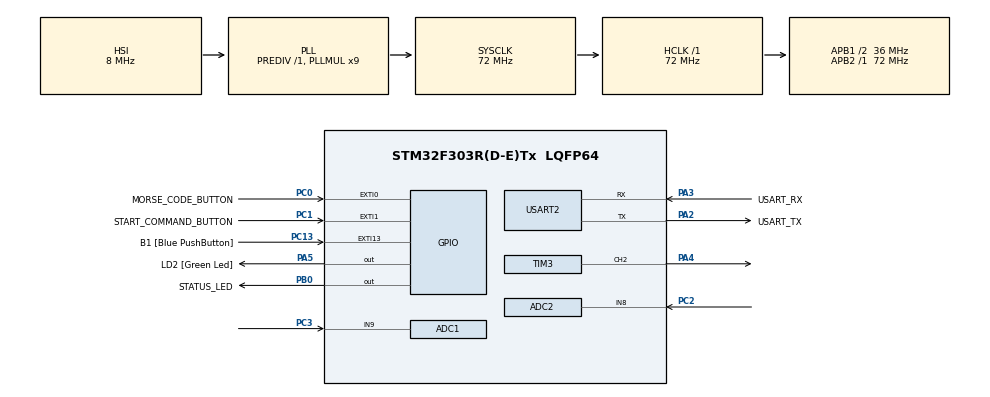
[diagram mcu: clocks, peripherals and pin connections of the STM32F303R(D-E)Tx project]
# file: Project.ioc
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ADC1.Channel-0\#ChannelRegularConversion=ADC_CHANNEL_9
ADC1.NbrOfConversionFlag=1
ADC1.Offset-0\#ChannelRegularConversion=0
ADC1.OffsetNumber-0\#ChannelRegularConversion=ADC_OFFSET_NONE
ADC1.Rank-0\#ChannelRegularConversion=1
ADC1.SamplingTime-0\#ChannelRegularConversion=ADC_SAMPLETIME_1CYCLE_5
ADC1.master=1
ADC2.Channel-1\#ChannelRegularConversion=ADC_CHANNEL_8
ADC2.NbrOfConversionFlag=1
ADC2.Offset-1\#ChannelRegularConversion=0
ADC2.OffsetNumber-1\#ChannelRegularConversion=ADC_OFFSET_NONE
ADC2.Rank-1\#ChannelRegularConversion=1
ADC2.SamplingTime-1\#ChannelRegularConversion=ADC_SAMPLETIME_1CYCLE_5
ADC2.SamplingTimeOPAMP-1\#ChannelRegularConversion=ADC_SAMPLETIME_61CYCLES_5
FREERTOS.Mutexes01=PotOneMutex,Static,PrinterMutexControlBlock,Available;PotTwoMutex,Static,PotTwoMutexControlBlock,Available
FREERTOS.Tasks01=PotOneTask,24,256,StartPotOneTask,Default,NULL,Static,PotOneTaskBuffer,PotOneTaskControlBlock;PotTwoTask,24,256,StartPotTwoTask,Default,NULL,Static,PotTwoTaskBuffer,PotTwoTaskControlBlock;PrinterTask,24,128,StartPrinterTask,Default,NULL,Static,PrinterTaskBuffer,PrinterTaskControlBlock;ButtonTask,8,128,StartButtonTask,Default,NULL,Static,ButtonTaskBuffer,ButtonTaskControlBlock;LEDTask,8,128,StartLEDTask,Default,NULL,Static,LEDTaskBuffer,LEDTaskControlBlock
Mcu.Family=STM32F3
Mcu.Name=STM32F303R(D-E)Tx
Mcu.Package=LQFP64
NVIC.ADC1_2_IRQn=true\:5\:0\:false\:false\:true\:true\:true\:true\:true
NVIC.EXTI0_IRQn=true\:5\:0\:false\:false\:true\:true\:true\:true\:true
NVIC.EXTI1_IRQn=true\:5\:0\:false\:false\:true\:true\:true\:true\:true
NVIC.PriorityGroup=NVIC_PRIORITYGROUP_4
NVIC.TIM6_DAC_IRQn=true\:15\:0\:false\:false\:true\:false\:false\:true\:true
NVIC.TimeBase=TIM6_DAC_IRQn
NVIC.TimeBaseIP=TIM6
PA13.GPIO_Label=TMS
PA13.Mode=Serial_Wire
PA13.Signal=SYS_JTMS-SWDIO
PA14.GPIO_Label=TCK
PA14.Mode=Serial_Wire
PA14.Signal=SYS_JTCK-SWCLK
PA2.GPIO_Label=USART_TX
PA2.GPIO_Mode=GPIO_MODE_AF_PP
PA2.GPIO_PuPd=GPIO_NOPULL
PA2.GPIO_Speed=GPIO_SPEED_FREQ_LOW
PA2.Mode=Asynchronous
PA2.Signal=USART2_TX
PA3.GPIO_Label=USART_RX
PA3.GPIO_Mode=GPIO_MODE_AF_PP
PA3.GPIO_PuPd=GPIO_NOPULL
PA3.GPIO_Speed=GPIO_SPEED_FREQ_LOW
PA3.Mode=Asynchronous
PA3.Signal=USART2_RX
PA4.Signal=S_TIM3_CH2
PA5.GPIO_Label=LD2 [Green Led]
PA5.GPIO_Mode=GPIO_MODE_OUTPUT_PP
PA5.GPIO_PuPd=GPIO_NOPULL
PA5.GPIO_Speed=GPIO_SPEED_FREQ_LOW
PA5.Signal=GPIO_Output
PB0.GPIO_Label=STATUS_LED
PB0.Signal=GPIO_Output
PB3.GPIO_Label=SWO
PB3.Signal=SYS_JTDO-TRACESWO
PC0.GPIO_Label=MORSE_CODE_BUTTON
PC0.GPIO_PuPd=GPIO_PULLUP
PC0.Signal=GPXTI0
PC1.GPIO_Label=START_COMMAND_BUTTON
PC1.GPIO_PuPd=GPIO_PULLUP
PC1.Signal=GPXTI1
PC13.GPIO_Label=B1 [Blue PushButton]
PC13.GPIO_ModeDefaultEXTI=GPIO_MODE_IT_FALLING
PC13.Signal=GPXTI13
PC14-OSC32_IN.Mode=LSE-External-Oscillator
PC14-OSC32_IN.Signal=RCC_OSC32_IN
PC15-OSC32_OUT.Mode=LSE-External-Oscillator
PC15-OSC32_OUT.Signal=RCC_OSC32_OUT
PC2.Signal=ADCx_IN8
PC3.Signal=ADCx_IN9
PF0-OSC_IN.Mode=HSE-External-Clock-Source
PF0-OSC_IN.Signal=RCC_OSC_IN
PF1-OSC_OUT.Signal=RCC_OSC_OUT
ProjectManager.HeapSize=0x200
ProjectManager.StackSize=0x400
ProjectManager.TargetToolchain=STM32CubeIDE
RCC.AHBFreq_Value=72000000
RCC.APB1CLKDivider=RCC_HCLK_DIV2
RCC.APB1Freq_Value=36000000
RCC.APB1TimFreq_Value=72000000
RCC.APB2Freq_Value=72000000
RCC.APB2TimFreq_Value=72000000
RCC.CortexFreq_Value=72000000
RCC.HCLKFreq_Value=72000000
RCC.HSE_VALUE=8000000
RCC.HSI_VALUE=8000000
RCC.PLLM=8
RCC.PLLMUL=RCC_PLL_MUL9
RCC.PLLN=336
RCC.PLLP=RCC_PLLP_DIV4
RCC.PLLQ=7
RCC.RCC_PLLsource_Clock_Source_FROM_HSE=RCC_HSE_PREDIV_DIV2
RCC.SYSCLKFreq_VALUE=72000000
RCC.SYSCLKSourceVirtual=RCC_SYSCLKSOURCE_PLLCLK
RCC.USBFreq_Value=72000000
SH.ADCx_IN8.0=ADC2_IN8,IN8-Single-Ended
SH.ADCx_IN9.0=ADC1_IN9,IN9-Single-Ended
SH.S_TIM3_CH2.0=TIM3_CH2,PWM Generation2 CH2
TIM3.Channel-PWM\ Generation2\ CH2=TIM_CHANNEL_2
TIM3.Period=499
TIM3.Pulse-PWM\ Generation2\ CH2=250
USART2.VirtualMode-Asynchronous=VM_ASYNC
VP_FREERTOS_VS_CMSIS_V2.Mode=CMSIS_V2
VP_SYS_VS_tim6.Mode=TIM6
board=NUCLEO-F303RE

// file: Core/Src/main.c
/* USER CODE BEGIN Header */
/**
  ******************************************************************************
  * @file           : main.c
  * @brief          : Main program body
  ******************************************************************************
  * @attention
  *
  * Copyright (c) 2026 STMicroelectronics.
  * All rights reserved.
  *
  * This software is licensed under terms that can be found in the LICENSE file
  * in the root directory of this software component.
  * If no LICENSE file comes with this software, it is provided AS-IS.
  *
  ******************************************************************************
  */
/* USER CODE END Header */
#include "main.h"
#include "cmsis_os.h"

/* USER CODE BEGIN Includes */
#include "trimpot.h"

#include <string.h>
#include <stdbool.h>
/* USER CODE END Includes */

typedef StaticTask_t osStaticThreadDef_t;
typedef StaticSemaphore_t osStaticMutexDef_t;

/* USER CODE BEGIN PD */

trimpotSensor *Pot1;
trimpotSensor *Pot2;

/* USER CODE END PD */

ADC_HandleTypeDef hadc1;
ADC_HandleTypeDef hadc2;

TIM_HandleTypeDef htim3;

UART_HandleTypeDef huart2;

/* Definitions for PotOneTask */
osThreadId_t PotOneTaskHandle;
uint32_t PotOneTaskBuffer[ 256 ];
osStaticThreadDef_t PotOneTaskControlBlock;
const osThreadAttr_t PotOneTask_attributes = {
  .name = "PotOneTask",
  .cb_mem = &PotOneTaskControlBlock,
  .cb_size = sizeof(PotOneTaskControlBlock),
  .stack_mem = &PotOneTaskBuffer[0],
  .stack_size = sizeof(PotOneTaskBuffer),
  .priority = (osPriority_t) osPriorityNormal,
};
/* Definitions for PotTwoTask */
osThreadId_t PotTwoTaskHandle;
uint32_t PotTwoTaskBuffer[ 256 ];
osStaticThreadDef_t PotTwoTaskControlBlock;
const osThreadAttr_t PotTwoTask_attributes = {
  .name = "PotTwoTask",
  .cb_mem = &PotTwoTaskControlBlock,
  .cb_size = sizeof(PotTwoTaskControlBlock),
  .stack_mem = &PotTwoTaskBuffer[0],
  .stack_size = sizeof(PotTwoTaskBuffer),
  .priority = (osPriority_t) osPriorityNormal,
};
/* Definitions for PrinterTask */
osThreadId_t PrinterTaskHandle;
uint32_t PrinterTaskBuffer[ 512];
osStaticThreadDef_t PrinterTaskControlBlock;
const osThreadAttr_t PrinterTask_attributes = {
  .name = "PrinterTask",
  .cb_mem = &PrinterTaskControlBlock,
  .cb_size = sizeof(PrinterTaskControlBlock),
  .stack_mem = &PrinterTaskBuffer[0],
  .stack_size = sizeof(PrinterTaskBuffer),
  .priority = (osPriority_t) osPriorityNormal,
};
/* Definitions for ButtonTask */
osThreadId_t ButtonTaskHandle;
uint32_t ButtonTaskBuffer[ 128 ];
osStaticThreadDef_t ButtonTaskControlBlock;
const osThreadAttr_t ButtonTask_attributes = {
  .name = "ButtonTask",
  .cb_mem = &ButtonTaskControlBlock,
  .cb_size = sizeof(ButtonTaskControlBlock),
  .stack_mem = &ButtonTaskBuffer[0],
  .stack_size = sizeof(ButtonTaskBuffer),
  .priority = (osPriority_t) osPriorityLow,
};
/* Definitions for LEDTask */
osThreadId_t LEDTaskHandle;
uint32_t LEDTaskBuffer[ 128 ];
osStaticThreadDef_t LEDTaskControlBlock;
const osThreadAttr_t LEDTask_attributes = {
  .name = "LEDTask",
  .cb_mem = &LEDTaskControlBlock,
  .cb_size = sizeof(LEDTaskControlBlock),
  .stack_mem = &LEDTaskBuffer[0],
  .stack_size = sizeof(LEDTaskBuffer),
  .priority = (osPriority_t) osPriorityLow,
};
/* Definitions for PotOneMutex */
osMutexId_t PotOneMutexHandle;
osStaticMutexDef_t PrinterMutexControlBlock;
const osMutexAttr_t PotOneMutex_attributes = {
  .name = "PotOneMutex",
  .cb_mem = &PrinterMutexControlBlock,
  .cb_size = sizeof(PrinterMutexControlBlock),
};
/* Definitions for PotTwoMutex */
osMutexId_t PotTwoMutexHandle;
osStaticMutexDef_t PotTwoMutexControlBlock;
const osMutexAttr_t PotTwoMutex_attributes = {
  .name = "PotTwoMutex",
  .cb_mem = &PotTwoMutexControlBlock,
  .cb_size = sizeof(PotTwoMutexControlBlock),
};

void SystemClock_Config(void);
static void MX_GPIO_Init(void);
static void MX_ADC1_Init(void);
static void MX_USART2_UART_Init(void);
static void MX_ADC2_Init(void);
static void MX_TIM3_Init(void);
void StartPotOneTask(void *argument);
void StartPotTwoTask(void *argument);
void StartPrinterTask(void *argument);
void StartButtonTask(void *argument);
void StartLEDTask(void *argument);

/* USER CODE BEGIN 0 */

/*
 ADCs are ijn interupt mode
 this function will be called when either of
 the ADCs are ready
 */

/* USER CODE END 0 */

int main(void)
{

  /* MCU Configuration--------------------------------------------------------*/

  /* Reset of all peripherals, Initializes the Flash interface and the Systick. */
  HAL_Init();

  /* Configure the system clock */
  SystemClock_Config();

  /* Initialize all configured peripherals */
  MX_GPIO_Init();
  MX_ADC1_Init();
  MX_USART2_UART_Init();
  MX_ADC2_Init();
  MX_TIM3_Init();
  /* USER CODE BEGIN 2 */

  Pot1=initTrimpot(1);
  Pot2=initTrimpot(2);

  /* USER CODE END 2 */

  /* Init scheduler */
  osKernelInitialize();
  /* Create the mutex(es) */
  /* creation of PotOneMutex */
  PotOneMutexHandle = osMutexNew(&PotOneMutex_attributes);

  /* creation of PotTwoMutex */
  PotTwoMutexHandle = osMutexNew(&PotTwoMutex_attributes);

  /* Create the thread(s) */
  /* creation of PotOneTask */
  PotOneTaskHandle = osThreadNew(StartPotOneTask, NULL, &PotOneTask_attributes);

  /* creation of PotTwoTask */
  PotTwoTaskHandle = osThreadNew(StartPotTwoTask, NULL, &PotTwoTask_attributes);

  /* creation of PrinterTask */
  PrinterTaskHandle = osThreadNew(StartPrinterTask, NULL, &PrinterTask_attributes);

  /* creation of ButtonTask */
  ButtonTaskHandle = osThreadNew(StartButtonTask, NULL, &ButtonTask_attributes);

  /* creation of LEDTask */
  LEDTaskHandle = osThreadNew(StartLEDTask, NULL, &LEDTask_attributes);

  /* Start scheduler */
  osKernelStart();

  /* We should never get here as control is now taken by the scheduler */

  /* Infinite loop */
  while (1)
  {

  }
}

void SystemClock_Config(void)
{
  RCC_OscInitTypeDef RCC_OscInitStruct = {0};
  RCC_ClkInitTypeDef RCC_ClkInitStruct = {0};
  RCC_PeriphCLKInitTypeDef PeriphClkInit = {0};

  /** Initializes the RCC Oscillators according to the specified parameters
  * in the RCC_OscInitTypeDef structure.
  */
  RCC_OscInitStruct.OscillatorType = RCC_OSCILLATORTYPE_HSI;
  RCC_OscInitStruct.HSIState = RCC_HSI_ON;
  RCC_OscInitStruct.HSICalibrationValue = RCC_HSICALIBRATION_DEFAULT;
  RCC_OscInitStruct.PLL.PLLState = RCC_PLL_ON;
  RCC_OscInitStruct.PLL.PLLSource = RCC_PLLSOURCE_HSI;
  RCC_OscInitStruct.PLL.PLLMUL = RCC_PLL_MUL9;
  RCC_OscInitStruct.PLL.PREDIV = RCC_PREDIV_DIV1;
  if (HAL_RCC_OscConfig(&RCC_OscInitStruct) != HAL_OK)
  {
    Error_Handler();
  }

  /** Initializes the CPU, AHB and APB buses clocks
  */
  RCC_ClkInitStruct.ClockType = RCC_CLOCKTYPE_HCLK|RCC_CLOCKTYPE_SYSCLK
                              |RCC_CLOCKTYPE_PCLK1|RCC_CLOCKTYPE_PCLK2;
  RCC_ClkInitStruct.SYSCLKSource = RCC_SYSCLKSOURCE_PLLCLK;
  RCC_ClkInitStruct.AHBCLKDivider = RCC_SYSCLK_DIV1;
  RCC_ClkInitStruct.APB1CLKDivider = RCC_HCLK_DIV2;
  RCC_ClkInitStruct.APB2CLKDivider = RCC_HCLK_DIV1;

  if (HAL_RCC_ClockConfig(&RCC_ClkInitStruct, FLASH_LATENCY_2) != HAL_OK)
  {
    Error_Handler();
  }
  PeriphClkInit.PeriphClockSelection = RCC_PERIPHCLK_USART2|RCC_PERIPHCLK_ADC12
                              |RCC_PERIPHCLK_TIM34;
  PeriphClkInit.Usart2ClockSelection = RCC_USART2CLKSOURCE_PCLK1;
  PeriphClkInit.Adc12ClockSelection = RCC_ADC12PLLCLK_DIV1;
  PeriphClkInit.Tim34ClockSelection = RCC_TIM34CLK_HCLK;
  if (HAL_RCCEx_PeriphCLKConfig(&PeriphClkInit) != HAL_OK)
  {
    Error_Handler();
  }
}

static void MX_ADC1_Init(void)
{

  ADC_MultiModeTypeDef multimode = {0};
  ADC_ChannelConfTypeDef sConfig = {0};

  /** Common config
  */
  hadc1.Instance = ADC1;
  hadc1.Init.ClockPrescaler = ADC_CLOCK_ASYNC_DIV1;
  hadc1.Init.Resolution = ADC_RESOLUTION_12B;
  hadc1.Init.ScanConvMode = ADC_SCAN_DISABLE;
  hadc1.Init.ContinuousConvMode = DISABLE;
  hadc1.Init.DiscontinuousConvMode = DISABLE;
  hadc1.Init.ExternalTrigConvEdge = ADC_EXTERNALTRIGCONVEDGE_NONE;
  hadc1.Init.ExternalTrigConv = ADC_SOFTWARE_START;
  hadc1.Init.DataAlign = ADC_DATAALIGN_RIGHT;
  hadc1.Init.NbrOfConversion = 1;
  hadc1.Init.DMAContinuousRequests = DISABLE;
  hadc1.Init.EOCSelection = ADC_EOC_SINGLE_CONV;
  hadc1.Init.LowPowerAutoWait = DISABLE;
  hadc1.Init.Overrun = ADC_OVR_DATA_OVERWRITTEN;
  if (HAL_ADC_Init(&hadc1) != HAL_OK)
  {
    Error_Handler();
  }

  /** Configure the ADC multi-mode
  */
  multimode.Mode = ADC_MODE_INDEPENDENT;
  if (HAL_ADCEx_MultiModeConfigChannel(&hadc1, &multimode) != HAL_OK)
  {
    Error_Handler();
  }

  /** Configure Regular Channel
  */
  sConfig.Channel = ADC_CHANNEL_9;
  sConfig.Rank = ADC_REGULAR_RANK_1;
  sConfig.SingleDiff = ADC_SINGLE_ENDED;
  sConfig.SamplingTime = ADC_SAMPLETIME_1CYCLE_5;
  sConfig.OffsetNumber = ADC_OFFSET_NONE;
  sConfig.Offset = 0;
  if (HAL_ADC_ConfigChannel(&hadc1, &sConfig) != HAL_OK)
  {
    Error_Handler();
  }

}

static void MX_ADC2_Init(void)
{

  ADC_ChannelConfTypeDef sConfig = {0};

  /** Common config
  */
  hadc2.Instance = ADC2;
  hadc2.Init.ClockPrescaler = ADC_CLOCK_ASYNC_DIV1;
  hadc2.Init.Resolution = ADC_RESOLUTION_12B;
  hadc2.Init.ScanConvMode = ADC_SCAN_DISABLE;
  hadc2.Init.ContinuousConvMode = DISABLE;
  hadc2.Init.DiscontinuousConvMode = DISABLE;
  hadc2.Init.ExternalTrigConvEdge = ADC_EXTERNALTRIGCONVEDGE_NONE;
  hadc2.Init.ExternalTrigConv = ADC_SOFTWARE_START;
  hadc2.Init.DataAlign = ADC_DATAALIGN_RIGHT;
  hadc2.Init.NbrOfConversion = 1;
  hadc2.Init.DMAContinuousRequests = DISABLE;
  hadc2.Init.EOCSelection = ADC_EOC_SINGLE_CONV;
  hadc2.Init.LowPowerAutoWait = DISABLE;
  hadc2.Init.Overrun = ADC_OVR_DATA_OVERWRITTEN;
  if (HAL_ADC_Init(&hadc2) != HAL_OK)
  {
    Error_Handler();
  }

  /** Configure Regular Channel
  */
  sConfig.Channel = ADC_CHANNEL_8;
  sConfig.Rank = ADC_REGULAR_RANK_1;
  sConfig.SingleDiff = ADC_SINGLE_ENDED;
  sConfig.SamplingTime = ADC_SAMPLETIME_1CYCLE_5;
  sConfig.OffsetNumber = ADC_OFFSET_NONE;
  sConfig.Offset = 0;
  if (HAL_ADC_ConfigChannel(&hadc2, &sConfig) != HAL_OK)
  {
    Error_Handler();
  }

}

static void MX_TIM3_Init(void)
{

  TIM_MasterConfigTypeDef sMasterConfig = {0};
  TIM_OC_InitTypeDef sConfigOC = {0};

  htim3.Instance = TIM3;
  htim3.Init.Prescaler = 71;
  htim3.Init.CounterMode = TIM_COUNTERMODE_UP;
  htim3.Init.Period = 499;
  htim3.Init.ClockDivision = TIM_CLOCKDIVISION_DIV1;
  htim3.Init.AutoReloadPreload = TIM_AUTORELOAD_PRELOAD_DISABLE;
  if (HAL_TIM_PWM_Init(&htim3) != HAL_OK)
  {
    Error_Handler();
  }
  sMasterConfig.MasterOutputTrigger = TIM_TRGO_RESET;
  sMasterConfig.MasterSlaveMode = TIM_MASTERSLAVEMODE_DISABLE;
  if (HAL_TIMEx_MasterConfigSynchronization(&htim3, &sMasterConfig) != HAL_OK)
  {
    Error_Handler();
  }
  sConfigOC.OCMode = TIM_OCMODE_PWM1;
  sConfigOC.Pulse = 250;
  sConfigOC.OCPolarity = TIM_OCPOLARITY_HIGH;
  sConfigOC.OCFastMode = TIM_OCFAST_DISABLE;
  if (HAL_TIM_PWM_ConfigChannel(&htim3, &sConfigOC, TIM_CHANNEL_2) != HAL_OK)
  {
    Error_Handler();
  }
  HAL_TIM_MspPostInit(&htim3);

}

static void MX_USART2_UART_Init(void)
{

  huart2.Instance = USART2;
  huart2.Init.BaudRate = 38400;
  huart2.Init.WordLength = UART_WORDLENGTH_8B;
  huart2.Init.StopBits = UART_STOPBITS_1;
  huart2.Init.Parity = UART_PARITY_NONE;
  huart2.Init.Mode = UART_MODE_TX_RX;
  huart2.Init.HwFlowCtl = UART_HWCONTROL_NONE;
  huart2.Init.OverSampling = UART_OVERSAMPLING_16;
  huart2.Init.OneBitSampling = UART_ONE_BIT_SAMPLE_DISABLE;
  huart2.AdvancedInit.AdvFeatureInit = UART_ADVFEATURE_NO_INIT;
  if (HAL_UART_Init(&huart2) != HAL_OK)
  {
    Error_Handler();
  }

}

static void MX_GPIO_Init(void)
{
  GPIO_InitTypeDef GPIO_InitStruct = {0};

  /* GPIO Ports Clock Enable */
  __HAL_RCC_GPIOC_CLK_ENABLE();
  __HAL_RCC_GPIOF_CLK_ENABLE();
  __HAL_RCC_GPIOA_CLK_ENABLE();
  __HAL_RCC_GPIOB_CLK_ENABLE();

  /*Configure GPIO pin Output Level */
  HAL_GPIO_WritePin(LD2_GPIO_Port, LD2_Pin, GPIO_PIN_RESET);

  /*Configure GPIO pin Output Level */
  HAL_GPIO_WritePin(STATUS_LED_GPIO_Port, STATUS_LED_Pin, GPIO_PIN_RESET);

  /*Configure GPIO pin : B1_Pin */
  GPIO_InitStruct.Pin = B1_Pin;
  GPIO_InitStruct.Mode = GPIO_MODE_IT_FALLING;
  GPIO_InitStruct.Pull = GPIO_NOPULL;
  HAL_GPIO_Init(B1_GPIO_Port, &GPIO_InitStruct);

  /*Configure GPIO pins : MORSE_CODE_BUTTON_Pin START_COMMAND_BUTTON_Pin */
  GPIO_InitStruct.Pin = MORSE_CODE_BUTTON_Pin|START_COMMAND_BUTTON_Pin;
  GPIO_InitStruct.Mode = GPIO_MODE_IT_RISING;
  GPIO_InitStruct.Pull = GPIO_PULLUP;
  HAL_GPIO_Init(GPIOC, &GPIO_InitStruct);

  /*Configure GPIO pin : LD2_Pin */
  GPIO_InitStruct.Pin = LD2_Pin;
  GPIO_InitStruct.Mode = GPIO_MODE_OUTPUT_PP;
  GPIO_InitStruct.Pull = GPIO_NOPULL;
  GPIO_InitStruct.Speed = GPIO_SPEED_FREQ_LOW;
  HAL_GPIO_Init(LD2_GPIO_Port, &GPIO_InitStruct);

  /*Configure GPIO pin : STATUS_LED_Pin */
  GPIO_InitStruct.Pin = STATUS_LED_Pin;
  GPIO_InitStruct.Mode = GPIO_MODE_OUTPUT_PP;
  GPIO_InitStruct.Pull = GPIO_NOPULL;
  GPIO_InitStruct.Speed = GPIO_SPEED_FREQ_LOW;
  HAL_GPIO_Init(STATUS_LED_GPIO_Port, &GPIO_InitStruct);

  /* EXTI interrupt init*/
  HAL_NVIC_SetPriority(EXTI0_IRQn, 5, 0);
  HAL_NVIC_EnableIRQ(EXTI0_IRQn);

  HAL_NVIC_SetPriority(EXTI1_IRQn, 5, 0);
  HAL_NVIC_EnableIRQ(EXTI1_IRQn);

}

/* USER CODE BEGIN 4 */

bool pot1Ready=false;
bool pot2Ready=false;
void HAL_ADC_ConvCpltCallback(ADC_HandleTypeDef *hadc){

	if (hadc==&hadc1){

		pot1Ready=true;
	}
	else{
		pot2Ready=true;
	};

}

/* USER CODE END 4 */

void StartPotOneTask(void *argument)
{
  /* USER CODE BEGIN 5 */
  /* Infinite loop */

  for(;;)
	{
		pot1Ready = false;
		HAL_ADC_Start_IT(&hadc1);

		osDelay(10);   // enough time for conversion to finish

		if (pot1Ready) {
			osMutexAcquire(PotOneMutexHandle, osWaitForever);
			readADC(Pot1, &hadc1,&htim3);
			osMutexRelease(PotOneMutexHandle);
		}

		osDelay(490);
	}
  /* USER CODE END 5 */
}

void StartPotTwoTask(void *argument)
{
  /* USER CODE BEGIN StartPotTwoTask */
  /* Infinite loop */
	for(;;)
	{
		pot2Ready = false;
		HAL_ADC_Start_IT(&hadc2);
		osDelay(10);
		if (pot2Ready) {
			osMutexAcquire(PotTwoMutexHandle, osWaitForever);
			readADC(Pot2, &hadc2,&htim3);
			osMutexRelease(PotTwoMutexHandle);
		}

		osDelay(490);
	}
  /* USER CODE END StartPotTwoTask */
}

void StartPrinterTask(void *argument)
{
  /* USER CODE BEGIN StartPrinterTask */
  /* Infinite loop */
  //osThreadSuspend(PrinterTaskHandle);
  for(;;)
  {

	osMutexAcquire(PotOneMutexHandle, osWaitForever);
	printValues(Pot1,&huart2);
	osMutexRelease(PotOneMutexHandle);

	osMutexAcquire(PotTwoMutexHandle, osWaitForever);
	printValues(Pot2,&huart2);
	osMutexRelease(PotTwoMutexHandle);

    osDelay(500);
  }
  /* USER CODE END StartPrinterTask */
}

/* USER CODE BEGIN Header_StartButtonTask */
/**
 * twqewew
* @brief Function implementing the ButtonTask thread.
* @param argument: Not used
* @retval None
*/

bool startButtonTask=false;
void commandStartButton(){
	startButtonTask=true;
}
bool instructionStarted=false;
char currentWord[5]="";
uint8_t currentIndex=0;
bool getMainCommand=true;
char mainCommand;
char subCommand;

char checkLetter(char  currentSequence[]){

	if (strcmp(currentSequence, ".-") == 0) return 'A';
	if (strcmp(currentSequence, "-...") == 0) return 'B';
	if (strcmp(currentSequence, "-.-.") == 0) return 'C';
	if (strcmp(currentSequence, "-..") == 0) return 'D';
	if (strcmp(currentSequence, ".") == 0) return 'E';
	if (strcmp(currentSequence, "..-.") == 0) return 'F';
	if (strcmp(currentSequence, "--.") == 0) return 'G';
	if (strcmp(currentSequence, "....") == 0) return 'H';

	if (strcmp(currentSequence, ".----") == 0) return '1';
	if (strcmp(currentSequence, "..---") == 0) return '2';
	if (strcmp(currentSequence, "...--") == 0) return '3';
	if (strcmp(currentSequence, "....-") == 0) return '4';
	if (strcmp(currentSequence, ".....") == 0) return '5';
	if (strcmp(currentSequence, "-....") == 0) return '6';
	if (strcmp(currentSequence, "--...") == 0) return '7';
	if (strcmp(currentSequence, "---..") == 0) return '8';
	if (strcmp(currentSequence, "----.") == 0) return '9';
	if (strcmp(currentSequence, "-----") == 0) return '0';
	return 'z';
}

bool commandSet=false;

/* USER CODE END Header_StartButtonTask */
void StartButtonTask(void *argument)
{
  /* USER CODE BEGIN StartButtonTask */
	  /* Infinite loop */
    uint32_t pressTime = 0;//lst time button was pressed
    uint32_t holdTime = 0;//how long button was held
    uint32_t lastSymbolTime = 0;//time of most recent dot/dash

    //storing previous button state
    GPIO_PinState lastState = 1;
    //osThreadSuspend(ButtonTaskHandle);
    const uint32_t dashThreshold = 250;
    const uint32_t debounceDelay = 20;
    for (;;)
    {

    	if (startButtonTask){
    	//reading button
        GPIO_PinState currentState = HAL_GPIO_ReadPin(MORSE_CODE_BUTTON_GPIO_Port,MORSE_CODE_BUTTON_Pin);

        //if state has changed since last read
        if (currentState != lastState)
        {
        	//delaying for debounce
            osDelay(debounceDelay);

            //reading state again
            currentState = HAL_GPIO_ReadPin(MORSE_CODE_BUTTON_GPIO_Port,MORSE_CODE_BUTTON_Pin);

            //checking if state has changed
            if (currentState != lastState)
            {
            	//updating state
                lastState = currentState;

                //if button is pressed getting time
                if (currentState == 0){ pressTime = HAL_GetTick();}
                else//if button is released
                {
                	//seeing how long the button was held for
                    holdTime = HAL_GetTick() - pressTime;

                        //if hold time is below threshold, dot
                        if (holdTime < dashThreshold){currentWord[currentIndex] = '.';}
                        else{currentWord[currentIndex] = '-';}
                        currentIndex++;
                        currentWord[currentIndex] = '\0';//adding null terminator to next spot

                    //showing that user has started to input data
                    instructionStarted = true;
                    lastSymbolTime = HAL_GetTick();//updating tiestamp

                    //printing morse code combo every button press
                    HAL_UART_Transmit(&huart2, (uint8_t*)currentWord, strlen(currentWord), HAL_MAX_DELAY);
                    HAL_UART_Transmit(&huart2, (uint8_t*)"\r\n", 2, HAL_MAX_DELAY);
                }
            }
        }

        //if there is a significant wait between button presses and
        //the user has started to give instructions, assume user is done
        //and find corresponding char

        if ( ((HAL_GetTick() - lastSymbolTime > 2000) && instructionStarted)||currentIndex>=5)
        {
        	//chcking for a matching char

        	if (getMainCommand){
        		mainCommand = checkLetter(currentWord);
        		if (mainCommand!='z'){getMainCommand=false;}

        		HAL_UART_Transmit(&huart2, (uint8_t*)"Main Command: ", 14, HAL_MAX_DELAY);
        		HAL_UART_Transmit(&huart2, (uint8_t*)&mainCommand, 1, HAL_MAX_DELAY);
        		HAL_UART_Transmit(&huart2, (uint8_t*)"\r\n", 2, HAL_MAX_DELAY);

        	}
        	else{
        		subCommand = checkLetter(currentWord);
        		if (subCommand!='z'){
        			getMainCommand=true;
        		 HAL_UART_Transmit(&huart2, (uint8_t*)"Sub Command: ", 13, HAL_MAX_DELAY);
        		            HAL_UART_Transmit(&huart2, (uint8_t*)&subCommand, 1, HAL_MAX_DELAY);
        		            HAL_UART_Transmit(&huart2, (uint8_t*)"\r\n", 2, HAL_MAX_DELAY);
        		            startButtonTask=false;
        		            commandSet=true;
        		}

        	}

            instructionStarted = false;
            currentIndex = 0;
            currentWord[0] = '\0';
        }
    	}
        osDelay(5);
    }
  /* USER CODE END StartButtonTask */
}

void StartLEDTask(void *argument)
{
  /* USER CODE BEGIN StartLEDTask */
  /* Infinite loop */
	uint16_t delayTime=0;
	//osThreadSuspend(LEDTaskHandle);
	HAL_TIM_PWM_Start(&htim3, TIM_CHANNEL_2);

  for(;;)
  {

    if (!startButtonTask&&!commandSet){HAL_GPIO_WritePin(STATUS_LED_GPIO_Port, STATUS_LED_Pin, 0); delayTime=1;}
    else{
    	if (commandSet&&!startButtonTask){HAL_GPIO_WritePin(STATUS_LED_GPIO_Port, STATUS_LED_Pin, 1); delayTime=1;}
    	else{
    	HAL_GPIO_TogglePin(STATUS_LED_GPIO_Port, STATUS_LED_Pin);
    	if (getMainCommand){delayTime=500;}
    	else{delayTime=250;}
    	}
    }
    osDelay(delayTime);
  }
  /* USER CODE END StartLEDTask */
}

void HAL_TIM_PeriodElapsedCallback(TIM_HandleTypeDef *htim)
{
  if (htim->Instance == TIM6)
  {
    HAL_IncTick();
  }
}

void Error_Handler(void)
{
  __disable_irq();
  while (1)
  {
  }
}
